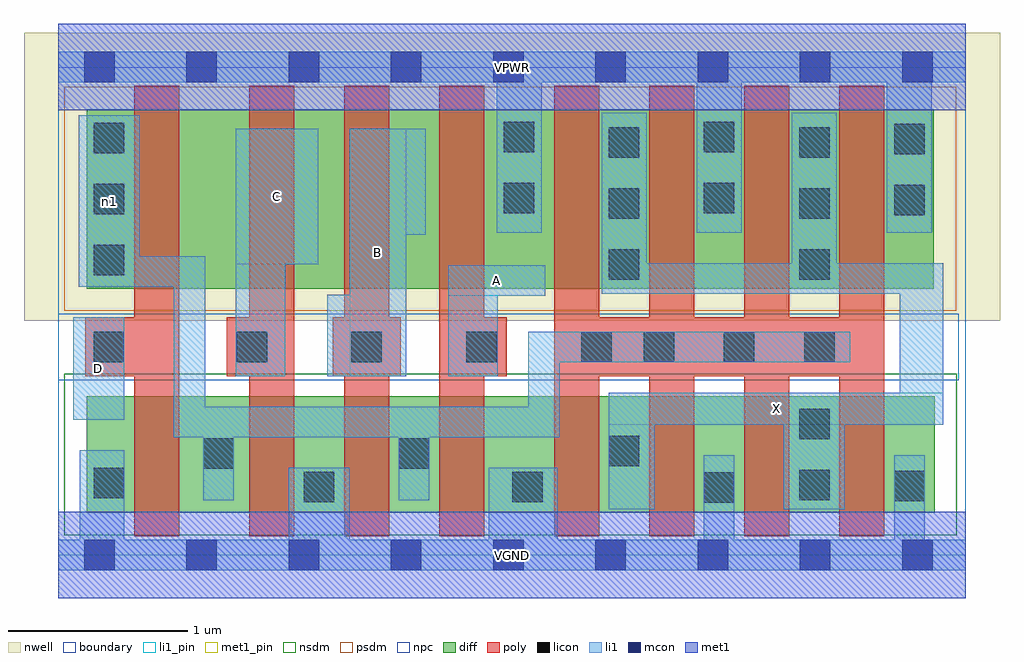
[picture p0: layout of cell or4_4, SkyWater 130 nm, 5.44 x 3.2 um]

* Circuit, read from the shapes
.subckt or4_4 A B C D VGND VPWR X n1
XM1 n1 D VGND VSUBS sky130_fd_pr__nfet_01v8 w=0.65 l=0.25
XM2 VGND C n1 VSUBS sky130_fd_pr__nfet_01v8 w=0.65 l=0.25
XM3 n1 B VGND VSUBS sky130_fd_pr__nfet_01v8 w=0.65 l=0.25
XM4 VGND A n1 VSUBS sky130_fd_pr__nfet_01v8 w=0.65 l=0.25
XM5 X n1 VGND VSUBS sky130_fd_pr__nfet_01v8 w=0.65 l=0.25 m=4
XM6 n2 D n1 n3 sky130_fd_pr__pfet_01v8 w=1 l=0.25
XM7 n4 C n2 n3 sky130_fd_pr__pfet_01v8 w=1 l=0.25
XM8 n5 B n4 n3 sky130_fd_pr__pfet_01v8 w=1 l=0.25
XM9 VPWR A n5 n3 sky130_fd_pr__pfet_01v8 w=1 l=0.25
XM10 X n1 VPWR n3 sky130_fd_pr__pfet_01v8 w=1 l=0.25 m=4
.ends

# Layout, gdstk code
import gdstk
lib = gdstk.Library(unit=1e-6, precision=1e-09)
def R(c, l, rs):  # rectangles x0, y0, x1, y1
    for r in rs: c.add(gdstk.rectangle(r[:2], r[2:], *l))
def A(c, l, x, y, w, h, nx, ny, dx, dy):  # array of equal rectangles
    R(c, l, [(x+i*dx, y+j*dy, x+i*dx+w, y+j*dy+h) for i in range(nx) for j in range(ny)])
nwell = (64, 20)
diff = (65, 20)
poly = (66, 20)
licon = (66, 44)
li1_pin = (67, 16)
li1 = (67, 20)
mcon = (67, 44)
met1_pin = (68, 16)
met1 = (68, 20)
nsdm = (93, 44)
psdm = (94, 20)
npc = (95, 20)
boundary = (235, 4)

or4_4 = lib.new_cell('or4_4')
R(or4_4, nwell, [(-0.19,1.305,5.25,2.91), (0,1.305,5.06,2.91)])
R(or4_4, diff, [(0.16,0.235,4.885,0.885), (0.16,1.485,4.88,2.485)])
A(or4_4, poly, 1.065, 0.105, 0.25, 2.51, 3, 1, 0.53, 0)
A(or4_4, poly, 2.765, 0.105, 0.25, 2.51, 4, 1, 0.53, 0)
R(or4_4, poly, [(0.425,0.105,0.675,2.615), (0.15,0.995,0.675,1.325), (0.94,0.995,1.315,1.325), (1.53,0.995,1.91,1.325), (2.125,0.995,2.5,1.325), (2.765,0.995,4.605,1.325)])
A(or4_4, licon, 0.995, 1.075, 0.17, 0.17, 4, 1, 0.64, 0)
A(or4_4, licon, 3.07, 1.535, 0.17, 0.17, 1, 3, 0, 0.34)
A(or4_4, licon, 4.13, 1.535, 0.17, 0.17, 1, 3, 0, 0.34)
A(or4_4, licon, 0.2, 1.56, 0.17, 0.17, 1, 3, 0, 0.34)
R(or4_4, licon, [(3.6,0.29,3.77,0.46), (1.37,0.295,1.54,0.465), (2.53,0.295,2.7,0.465), (4.66,0.3,4.83,0.47), (4.13,0.305,4.3,0.475), (0.2,0.315,0.37,0.485), (0.81,0.48,0.98,0.65), (1.9,0.48,2.07,0.65), (3.07,0.495,3.24,0.665), (4.13,0.645,4.3,0.815), (0.2,1.075,0.37,1.245), (3.265,1.075,3.435,1.245), (3.71,1.075,3.88,1.245), (4.16,1.075,4.33,1.245), (4.66,1.895,4.83,2.065), (2.485,1.905,2.655,2.075), (3.6,1.905,3.77,2.075), (4.66,2.235,4.83,2.405), (2.485,2.245,2.655,2.415), (3.6,2.245,3.77,2.415)])
R(or4_4, li1_pin, [(3.07,0.725,4.935,0.905), (0.085,0.755,0.37,1.325), (1.625,0.995,1.94,2.375), (2.175,1.445,2.715,1.615), (0.99,1.62,1.45,2.375)])
R(or4_4, li1, [(0,-0.085,5.06,0.085), (0.12,-0.085,0.37,0.585), (1.285,-0.085,1.625,0.485), (2.4,-0.085,2.785,0.485), (3.6,-0.085,3.77,0.555), (4.66,-0.085,4.83,0.555), (3.07,0.255,3.325,0.905), (4.045,0.255,4.385,0.905), (0.81,0.305,0.98,0.825), (1.9,0.305,2.07,0.825), (0.645,0.655,2.795,0.825), (0.645,0.655,0.82,1.665), (2.62,0.655,2.795,1.245), (3.07,0.725,4.935,0.905), (4.69,0.725,4.935,1.625), (0.085,0.755,0.37,1.325), (0.99,0.995,1.265,2.375), (1.5,0.995,1.94,1.45), (1.625,0.995,1.94,2.375), (2.175,0.995,2.45,1.615), (2.62,1.075,4.415,1.245), (2.175,1.445,2.715,1.615), (3.03,1.455,4.935,1.625), (3.03,1.455,3.28,2.465), (4.09,1.455,4.34,2.465), (0.115,1.495,0.455,2.45), (0.115,1.495,0.82,1.665), (0.99,1.62,1.45,2.375), (1.625,1.785,2.05,2.375), (2.445,1.795,2.695,2.805), (3.56,1.795,3.81,2.805), (4.62,1.795,4.87,2.805), (0,2.635,5.06,2.805)])
A(or4_4, mcon, 0.145, -0.085, 0.17, 0.17, 9, 2, 0.57, 2.72)
R(or4_4, met1_pin, [(0,-0.24,5.06,0.24), (0,2.48,5.06,2.96)])
R(or4_4, met1, [(0,-0.24,5.06,0.24), (0,2.48,5.06,2.96)])
R(or4_4, nsdm, [(0.035,0.11,5.01,1.01)])
R(or4_4, psdm, [(0.035,1.36,5.005,2.61)])
R(or4_4, npc, [(0,0.975,5.02,1.345)])
R(or4_4, boundary, [(0,0,5.06,2.72)])
or4_4.add(gdstk.Label('A', (2.445,1.53), layer=67, texttype=5))
or4_4.add(gdstk.Label('B', (1.782,1.685), layer=67, texttype=5))
or4_4.add(gdstk.Label('C', (1.22,1.997), layer=67, texttype=5))
or4_4.add(gdstk.Label('D', (0.227,1.04), layer=67, texttype=5))
or4_4.add(gdstk.Label('X', (4.002,0.815), layer=67, texttype=5))
or4_4.add(gdstk.Label('n1', (0.285,1.972), layer=67, texttype=5))
or4_4.add(gdstk.Label('VPWR', (2.53,2.72), layer=68, texttype=5))
or4_4.add(gdstk.Label('VGND', (2.53,0), layer=68, texttype=5))
or4_4.add(gdstk.Label('A', (2.445,1.53), layer=67, texttype=16))
or4_4.add(gdstk.Label('B', (1.782,1.685), layer=67, texttype=16))
or4_4.add(gdstk.Label('C', (1.22,1.997), layer=67, texttype=16))
or4_4.add(gdstk.Label('D', (0.227,1.04), layer=67, texttype=16))
or4_4.add(gdstk.Label('X', (4.002,0.815), layer=67, texttype=16))
or4_4.add(gdstk.Label('VPWR', (2.53,2.72), layer=68, texttype=16))
or4_4.add(gdstk.Label('VGND', (2.53,0), layer=68, texttype=16))

lib.write_gds('or4_4.gds')
